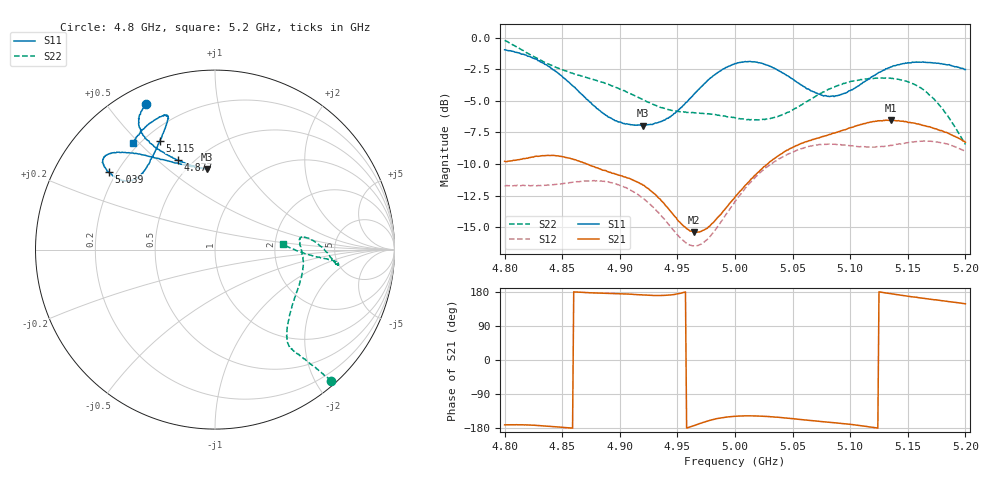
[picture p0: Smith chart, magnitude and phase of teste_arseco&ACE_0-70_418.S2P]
! Network Analyzer HP8722D
! Hewlett-Packard
! Data name: Linha & Wilkinson
! Saver's name: Rodrigo Anjos
! Comments: Teste da utilização de aquisição
! continua pelo VNA HP8722D
! Time and date: 8/5/2025 16:14
!  Frequency  S11  S21  S12  S22
# HZ  S  MA R 50
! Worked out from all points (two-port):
!   401 points, 4.8 GHz to 5.2 GHz, reference 50 ohm
!   highest |S21| = -6.52 dB at 5.135 GHz (marker M1); lowest = -15.4 dB at 4.964 GHz (marker M2)
!   |S21| within 3 dB of the highest: 4.821 GHz to 4.855 GHz (34.17 MHz wide, 0.706 % of centre); 5.035 GHz to end of sweep
!   lowest |S11| = -7.0 dB at 4.92 GHz (marker M3), VSWR 2.63, Z = 30.8 + j34.4 ohm
!   |S11| at or under -10 dB: nowhere
!   |S22| runs from -8.5 to -0.2 dB; largest |S21 - S12| = 0.83
!   S11 on the Smith chart (normalised r, x): 4.8 GHz: 0.08, +0.63; 4.877 GHz: 0.41, +0.58; 5.039 GHz: 0.17, +0.32; 5.115 GHz: 0.26, +0.58; 5.2 GHz: 0.18, +0.48
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4.8e9  0.8959 115.3  0.324 -171.2  0.2594 -86.5  0.9755 -48.5
4.819e9  0.8522 119.8  0.3333 -171.4  0.2593 -82.4  0.8725 -49.6
4.837e9  0.7769 122.2  0.3417 -174.7  0.2608 -76.6  0.7905 -50.6
4.867e9  0.5964 117.1  0.3219 178.5  0.2697 -68.5  0.7055 -52.3
4.877e9  0.5399 112.7  0.3092 177.2  0.2717 -67.5  0.6833 -52.5
4.901e9  0.4627 99.8  0.2839 174.8  0.2592 -68.4  0.624 -50.2
4.92e9  0.4489 96.0  0.2609 171.6  0.232 -70.4  0.5692 -44.0
4.934e9  0.4628 100.5  0.2312 170.3  0.202 -70.4  0.5318 -36.4
4.946e9  0.4947 108.7  0.2001 172.4  0.174 -66.9  0.5146 -28.6
4.964e9  0.5947 121.5  0.1696 -173.5  0.1499 -51.0  0.5049 -17.2
4.977e9  0.6821 128.6  0.1783 -160.5  0.1611 -36.1  0.5001 -10.3
5e9  0.7904 137.1  0.2336 -148.5  0.2249 -22.0  0.4816 -0.3
5.019e9  0.8003 141.4  0.2902 -147.9  0.2837 -19.8  0.473 5.6
5.039e9  0.7354 143.8  0.3442 -151.7  0.3326 -20.1  0.4916 8.1
5.067e9  0.6141 141.4  0.3952 -160.0  0.3739 -22.5  0.5753 3.0
5.088e9  0.5891 132.4  0.4219 -165.9  0.3776 -25.6  0.6432 -3.7
5.115e9  0.6806 116.8  0.461 -175.7  0.369 -28.5  0.6865 -7.2
5.134e9  0.7612 110.4  0.4698 175.7  0.3737 -30.7  0.6918 -6.4
5.135e9  0.7651 110.3  0.4721 175.0  0.3748 -30.7  0.6915 -6.4
5.162e9  0.7999 112.5  0.4509 163.4  0.3896 -37.6  0.6299 -4.9
5.179e9  0.7895 118.5  0.429 156.7  0.3838 -43.0  0.5301 -3.3
5.2e9  0.7484 127.6  0.3856 148.4  0.3546 -48.7  0.378 4.5
